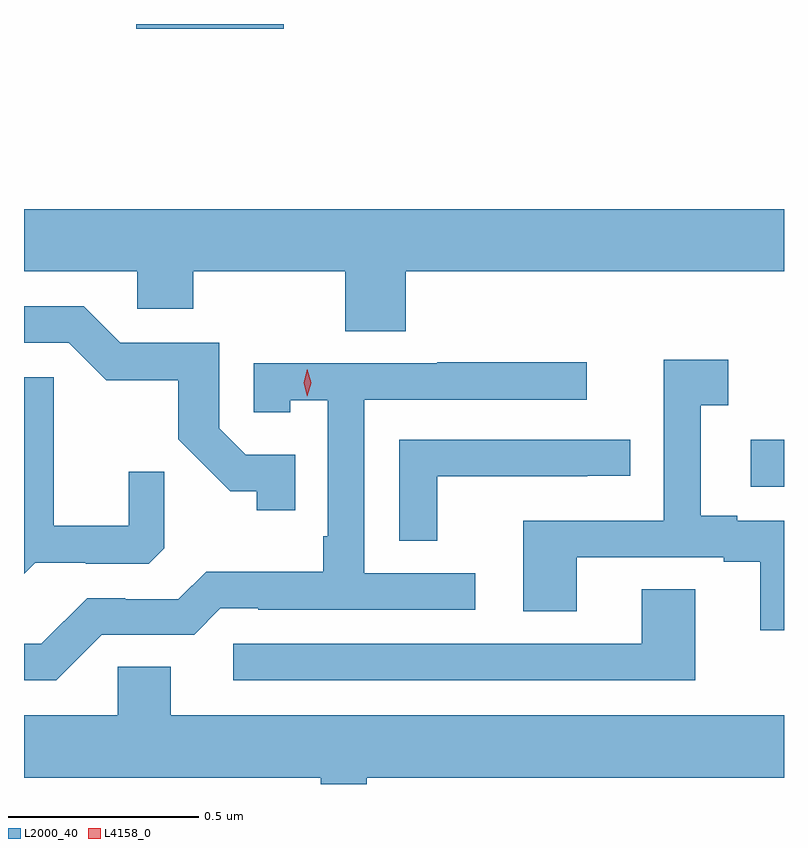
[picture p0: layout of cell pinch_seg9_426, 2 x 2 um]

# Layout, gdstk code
import gdstk
lib = gdstk.Library(unit=1e-6, precision=1e-09)
def R(c, l, rs):  # rectangles x0, y0, x1, y1
    for r in rs: c.add(gdstk.rectangle(r[:2], r[2:], *l))
def P(c, l, *ps):  # polygons
    for p in ps: c.add(gdstk.Polygon(p, *l))
L2000_40 = (2000, 40)
L4158_0 = (4158, 0)

pinch_seg9_426 = lib.new_cell('pinch_seg9_426')
R(pinch_seg9_426, L2000_40, [(378.075,1239.809,378.163,1239.933), (376.458,1241.014,376.846,1241.027)])
P(pinch_seg9_426, L2000_40, [(377.168,1240.376),(378.163,1240.376),(378.163,1240.54),(376.163,1240.54),(376.163,1240.376),(376.461,1240.376),(376.461,1240.278),(376.608,1240.278),(376.608,1240.376),(377.008,1240.376),(377.008,1240.219),(377.168,1240.219)],
  [(376.877,1239.894),(376.746,1239.894),(376.677,1239.963),(376.677,1240.188),(376.416,1240.188),(376.32,1240.284),(376.163,1240.284),(376.163,1240.188),(376.281,1240.188),(376.38,1240.09),(376.569,1240.09),(376.569,1239.934),(376.706,1239.797),(376.776,1239.797),(376.776,1239.747),(376.877,1239.747)],
  [(378.163,1239.72),(378.04,1239.72),(378.04,1239.733),(377.944,1239.733),(377.944,1240.024),(378.016,1240.024),(378.016,1240.144),(377.847,1240.144),(377.847,1239.72),(377.477,1239.72),(377.477,1239.481),(377.617,1239.481),(377.617,1239.624),(378.005,1239.624),(378.005,1239.612),(378.101,1239.612),(378.101,1239.432),(378.163,1239.432)],
  [(376.368,1239.42),(376.611,1239.42),(376.68,1239.489),(376.78,1239.489),(376.78,1239.486),(377.35,1239.486),(377.35,1239.582),(377.058,1239.582),(377.058,1240.038),(377.644,1240.038),(377.644,1240.137),(377.251,1240.137),(377.251,1240.134),(376.767,1240.134),(376.767,1240.005),(376.863,1240.005),(376.863,1240.037),(376.962,1240.037),(376.962,1239.679),(376.95,1239.679),(376.95,1239.586),(376.642,1239.586),(376.569,1239.513),(376.43,1239.513),(376.43,1239.516),(376.329,1239.516),(376.209,1239.396),(376.163,1239.396),(376.163,1239.3),(376.248,1239.3)],
  [(376.192,1239.609),(376.326,1239.609),(376.326,1239.606),(376.491,1239.606),(376.532,1239.647),(376.532,1239.849),(376.438,1239.849),(376.438,1239.706),(376.241,1239.706),(376.241,1240.098),(376.163,1240.098),(376.163,1239.58)],
  [(377.25,1239.837),(377.645,1239.837),(377.645,1239.838),(377.758,1239.838),(377.758,1239.933),(377.151,1239.933),(377.151,1239.667),(377.25,1239.667)],
  [(377.929,1239.539),(377.789,1239.539),(377.789,1239.396),(376.713,1239.396),(376.713,1239.3),(377.929,1239.3)],
  [(377.065,1239.044),(378.163,1239.044),(378.163,1239.208),(376.549,1239.208),(376.549,1239.335),(376.41,1239.335),(376.41,1239.208),(376.163,1239.208),(376.163,1239.044),(376.944,1239.044),(376.944,1239.027),(377.065,1239.027)])
P(pinch_seg9_426, L4158_0, [(376.909,1240.047),(376.909,1240.047),(376.899,1240.083),(376.909,1240.119),(376.909,1240.119),(376.909,1240.119),(376.919,1240.083),(376.909,1240.047)])

lib.write_gds('pinch_seg9_426.gds')
